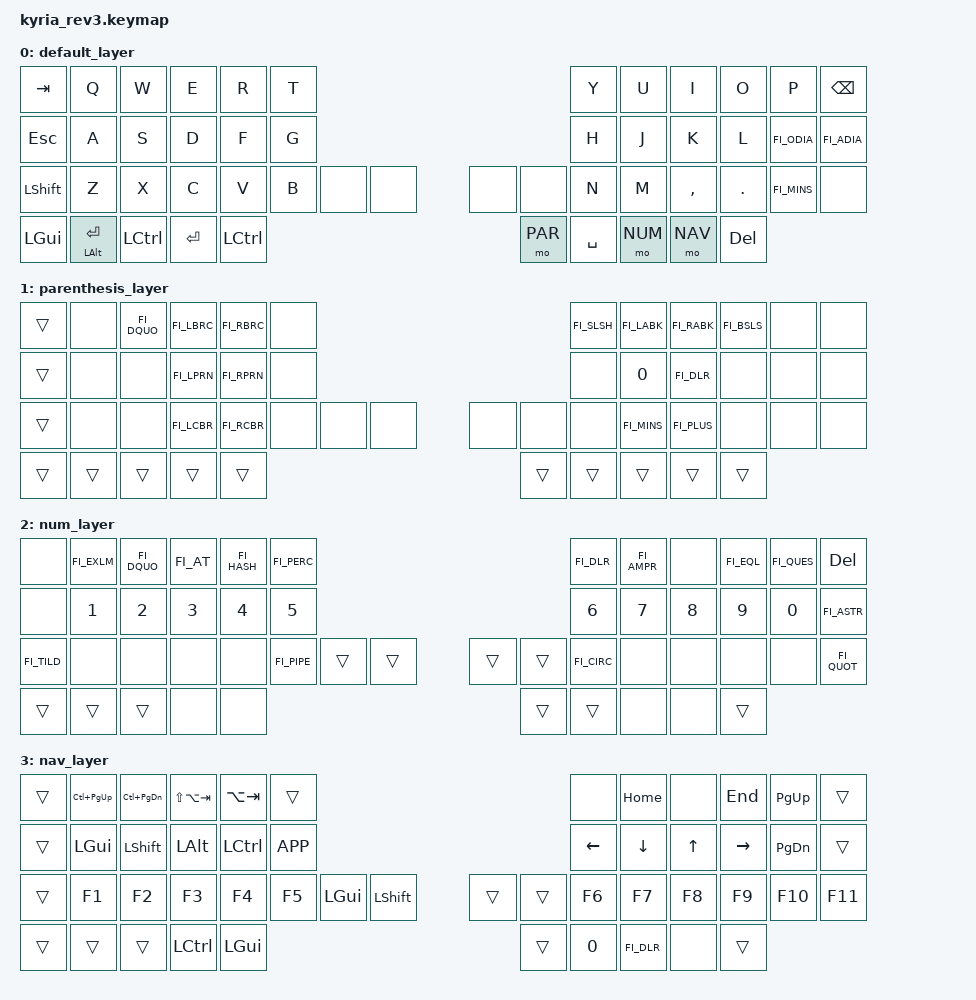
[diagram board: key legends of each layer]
/*
 * Copyright (c) 2020 The ZMK Contributors
 *
 * SPDX-License-Identifier: MIT
 */

#include <behaviors.dtsi>
#include <dt-bindings/zmk/keys.h>
#include <dt-bindings/zmk/bt.h>
#include <dt-bindings/zmk/outputs.h>
#include "finnish_keymap.h"

#define BASE 0
#define PAR  1
#define NUM  2
#define NAV  3

#define PTAB LC(PG_UP)
#define NTAB LC(PG_DN)
#define NWIN LA(TAB)
#define PWIN LS(LA(TAB))
#define XSLV LA(LC(V))
#define PDESK LC(LG(RIGHT))
#define NDESK LC(LG(LEFT))

        / {
                keymap {
                        compatible = "zmk,keymap";

                        default_layer {
        // ---------------------------------------------------------------------------------------------------------------------------------
        // | TAB   |  Q  |  W  |  E   |  R   |  T   |                                          |  Y   |  U    |  I    |  O   |   P   | bksp |
        // | ESC   |  A  |  S  |  D   |  F   |  G   |                                          |  H   |  J    |  K    |  L   |   Ö   |  Ä   |
        // | SHIFT |  Z  |  X  |  C   |  V   |  B   | ---     | ---     |  |    ---  |    ---  |  N   |  M    |  ,    |  .   |   -   | ---- |
        //                     | LGUI |Alt/En| Ctrl |    ent  |  ctrl   |  |   par   |  spc    | num  |  nav  | del   |
                                bindings = <
                &kp TAB   &kp Q &kp W &kp E &kp R &kp T                                      &kp Y &kp U  &kp I     &kp O   &kp P        &kp BSPC
                &kp ESC   &kp A &kp S &kp D &kp F &kp G                                      &kp H &kp J  &kp K     &kp L   &kp FI_ODIA  &kp FI_ADIA
                &kp LSHFT &kp Z &kp X &kp C &kp V &kp B &none  &none           &none  &none  &kp N &kp M  &kp COMMA &kp DOT &kp FI_MINS  &none       
	              &kp LGUI  &mt LALT RET  &kp LCTRL &kp RET  &kp LCTRL         &mo PAR  &kp SPC &mo NUM &mo NAV &kp DEL 
			>;

		};

		parenthesis_layer{
        // ---------------------------------------------------------------------------------------------------------------------------------
        // | none  | --- |  "  |  [   |  ]   | ---  |                                       |  /   |  <    |  >    |   \  | ---  | ---  |
        // | none  | --- | --- |  (   |  )   | ---  |                                       | ---  |  0    |  $    |  --- | ---  | ---  |
        // | none  | --- | --- |  {   |  }   | ---  |  ---   |  ---    |  |   ---   |  ---  | ---  |  -    |  +    |  --- | ---  | ---  |
        //                     | ---  | ---  | ---  |  ---   |  ---    |  |   ---   |  ---  | ---  | ---   | ---   |
			bindings = <
	&trans &none &kp FI_DQUO &kp FI_LBRC &kp FI_RBRC &none                                &kp FI_SLSH &kp FI_LABK &kp FI_RABK &kp FI_BSLS &none &none 
	&trans &none &none       &kp FI_LPRN &kp FI_RPRN &none                                &none       &kp N0      &kp FI_DLR  &none       &none &none 
	&trans &none &none       &kp FI_LCBR &kp FI_RCBR &none  &none &none      &none  &none &none       &kp FI_MINS &kp FI_PLUS &none       &none &none 
	                         &trans  &trans  &trans  &trans &trans        &trans &trans &trans &trans &trans
			>;

		};

		num_layer {
        // ---------------------------------------------------------------------------------------------------------------------------------
        // | ---   |  !  |  "  |  @   |  #   |  %   |                                          |  $   |  &    |  ---  |   =  |   ?   | del  |
        // | ---   |  1  |  2  |  3   |  4   |  5   |                                          |  6   |  7    |  8    |  9   |   0   |  *   |
        // | ~     | --- | --- | ---  | ---  |  |   |   ---   |  ---    |  |   ---   |  ---    |  ^   |  ---  |  ---  | ---  | ---   |  '   |
        //                     | ---  | ---  | ---  |   ---   |  ---    |  |   ---   |  ---    | ---  |  ---  | ---   |
			bindings = <
	&none       &kp FI_EXLM &kp FI_DQUO &kp FI_AT &kp FI_HASH &kp FI_PERC                               &kp FI_DLR  &kp FI_AMPR &none  &kp FI_EQL &kp FI_QUES &kp DEL
	&none       &kp N1      &kp N2      &kp N3    &kp N4      &kp N5                                    &kp N6      &kp N7      &kp N8 &kp N9     &kp N0      &kp FI_ASTR
	&kp FI_TILD &none       &none       &none     &none       &kp FI_PIPE &trans &trans   &trans &trans &kp FI_CIRC &none       &none  &none      &none       &kp FI_QUOT
	                                      &trans  &trans   &trans    &none    &none               &trans &trans    &none   &none      &trans
			>;

		};

		nav_layer {
        // ---------------------------------------------------------------------------------------------------------------------------------
        // | ---  | Tab-| Tab+| win+ | win- | excel|                                          |      | Home | ---   | End  | Pgup | ---  |
        // | ---  | Win | Shft| alt  | ctrl | app  |                                          | Left | Down |  Up   | Right| Pgdw | ---  |
        // | ---  | F1  | F2  | F3   | F4   | F5   |   win   |  Shift  |  |   ---   |  ---    | F6   | F7   |  F8   | F9   |  F10 | F11  |
        //                    | ---  | ---  | ---  |   Ctrl  |  Win    |  |   ---   |   0     |  $   | ---  | ---   |
			bindings = <
	&trans &kp PTAB &kp NTAB  &kp PWIN &kp NWIN  &trans                                &none     &kp HOME  &none    &kp END   &kp PG_UP &trans
	&trans &kp LGUI &kp LSHFT &kp LALT &kp LCTRL &kp K_APP                             &kp LEFT  &kp DOWN  &kp UP   &kp RIGHT &kp PG_DN &trans
	&trans &kp F1   &kp F2    &kp F3   &kp F4    &kp F5 &kp LGUI &kp LSHFT  &trans &trans    &kp F6    &kp F7    &kp F8   &kp F9    &kp F10   &kp F11
	                       &trans  &trans   &trans    &kp LCTRL &kp LGUI      &trans &kp N0    &kp FI_DLR &none     &trans
			>;

		};

	};
};
